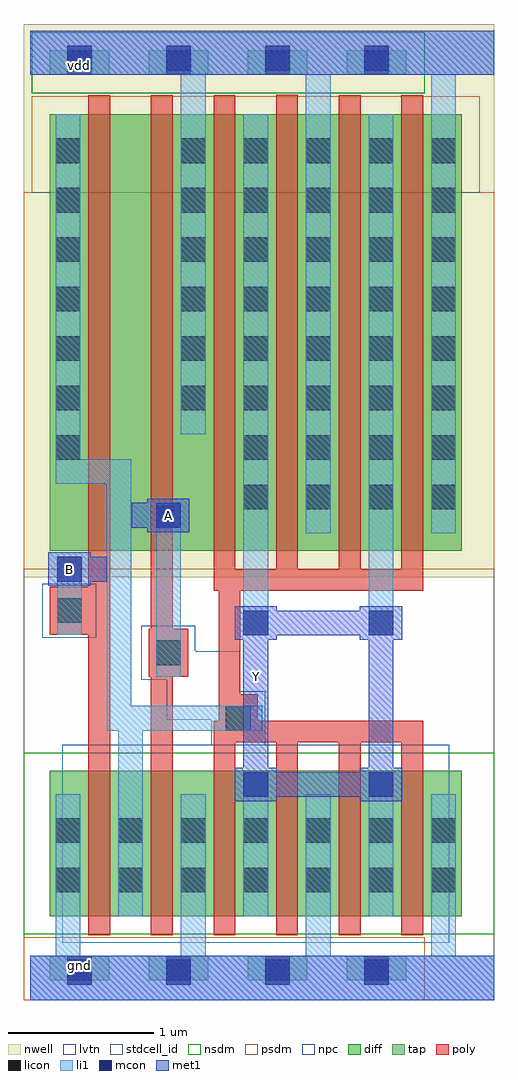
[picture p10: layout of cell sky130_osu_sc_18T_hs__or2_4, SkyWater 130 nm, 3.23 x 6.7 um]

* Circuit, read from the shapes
.subckt sky130_osu_sc_18T_hs__or2_4 A B Y gnd vdd
XM1 n1 B gnd gnd sky130_fd_pr__nfet_01v8_lvt w=1 l=0.15
XM2 gnd A n1 gnd sky130_fd_pr__nfet_01v8_lvt w=1 l=0.15
XM3 Y n1 gnd gnd sky130_fd_pr__nfet_01v8_lvt w=1 l=0.15 m=4
XM4 n2 B n1 vdd sky130_fd_pr__pfet_01v8 w=3 l=0.15
XM5 vdd A n2 vdd sky130_fd_pr__pfet_01v8 w=3 l=0.15
XM6 Y n1 vdd vdd sky130_fd_pr__pfet_01v8 w=3 l=0.15 m=4
.ends

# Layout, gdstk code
import gdstk
lib = gdstk.Library(unit=1e-6, precision=1e-09)
def R(c, l, rs):  # rectangles x0, y0, x1, y1
    for r in rs: c.add(gdstk.rectangle(r[:2], r[2:], *l))
nwell = (64, 20)
diff = (65, 20)
tap = (65, 44)
poly = (66, 20)
licon = (66, 44)
li1 = (67, 20)
mcon = (67, 44)
met1 = (68, 20)
stdcell_id = (81, 4)
nsdm = (93, 44)
psdm = (94, 20)
npc = (95, 20)
lvtn = (125, 44)

sky130_osu_sc_18t_hs__or = lib.new_cell('sky130_osu_sc_18T_hs__or2_4')
R(sky130_osu_sc_18t_hs__or, nwell, [(-0.045,2.905,3.19,6.705), (-0.045,2.905,3.19,6.705)])
R(sky130_osu_sc_18t_hs__or, diff, [(0.135,0.575,2.965,1.575), (0.135,0.575,2.965,1.575), (0.135,3.085,2.965,6.085), (0.135,3.085,2.965,6.085)])
R(sky130_osu_sc_18t_hs__or, tap, [(0.135,0.135,0.545,0.305), (0.135,0.135,0.545,0.305), (0.815,0.135,1.225,0.305), (0.815,0.135,1.225,0.305), (1.495,0.135,1.905,0.305), (1.495,0.135,1.905,0.305), (2.175,0.135,2.585,0.305), (2.175,0.135,2.585,0.305), (0.135,6.355,0.545,6.525), (0.135,6.355,0.545,6.525), (0.815,6.355,1.225,6.525), (0.815,6.355,1.225,6.525), (1.495,6.355,1.905,6.525), (1.495,6.355,1.905,6.525), (2.175,6.355,2.585,6.525), (2.175,6.355,2.585,6.525)])
R(sky130_osu_sc_18t_hs__or, poly, [(0.4,0.445,0.55,2.51), (0.4,0.445,0.55,2.51), (0.83,0.445,0.98,2.22), (0.83,0.445,0.98,2.22), (1.26,0.445,1.41,1.77), (1.26,0.445,1.41,1.77), (1.69,0.445,1.84,1.77), (1.69,0.445,1.84,1.77), (2.12,0.445,2.27,1.77), (2.12,0.445,2.27,1.77), (2.55,0.445,2.7,1.77), (2.55,0.445,2.7,1.77), (1.26,1.77,2.7,1.92), (1.26,1.77,2.7,1.92), (1.295,1.92,1.565,2.1), (1.295,1.92,1.565,2.1), (1.295,2.1,1.445,2.81), (1.295,2.1,1.445,2.81), (0.815,2.22,1.085,2.55), (0.815,2.22,1.085,2.55), (0.135,2.51,0.55,2.84), (0.135,2.51,0.55,2.84), (0.83,2.55,0.98,6.215), (0.83,2.55,0.98,6.215), (1.26,2.81,2.7,2.96), (1.26,2.81,2.7,2.96), (0.4,2.84,0.55,6.215), (0.4,2.84,0.55,6.215), (1.26,2.96,1.41,6.215), (1.26,2.96,1.41,6.215), (1.69,2.96,1.84,6.22), (1.69,2.96,1.84,6.22), (2.12,2.96,2.27,6.215), (2.12,2.96,2.27,6.215), (2.55,2.96,2.7,6.215), (2.55,2.96,2.7,6.215)])
R(sky130_osu_sc_18t_hs__or, licon, [(0.255,0.135,0.425,0.305), (0.255,0.135,0.425,0.305), (0.935,0.135,1.105,0.305), (0.935,0.135,1.105,0.305), (1.615,0.135,1.785,0.305), (1.615,0.135,1.785,0.305), (2.295,0.135,2.465,0.305), (2.295,0.135,2.465,0.305), (0.175,0.74,0.345,0.91), (0.175,0.74,0.345,0.91), (0.605,0.74,0.775,0.91), (0.605,0.74,0.775,0.91), (1.035,0.74,1.205,0.91), (1.035,0.74,1.205,0.91), (1.465,0.74,1.635,0.91), (1.465,0.74,1.635,0.91), (1.895,0.74,2.065,0.91), (1.895,0.74,2.065,0.91), (2.325,0.74,2.495,0.91), (2.325,0.74,2.495,0.91), (2.755,0.74,2.925,0.91), (2.755,0.74,2.925,0.91), (0.175,1.08,0.345,1.25), (0.175,1.08,0.345,1.25), (0.605,1.08,0.775,1.25), (0.605,1.08,0.775,1.25), (1.035,1.08,1.205,1.25), (1.035,1.08,1.205,1.25), (1.465,1.08,1.635,1.25), (1.465,1.08,1.635,1.25), (1.895,1.08,2.065,1.25), (1.895,1.08,2.065,1.25), (2.325,1.08,2.495,1.25), (2.325,1.08,2.495,1.25), (2.755,1.08,2.925,1.25), (2.755,1.08,2.925,1.25), (1.345,1.85,1.515,2.02), (1.345,1.85,1.515,2.02), (0.865,2.3,1.035,2.47), (0.865,2.3,1.035,2.47), (0.185,2.59,0.355,2.76), (0.185,2.59,0.355,2.76), (1.465,3.37,1.635,3.54), (1.465,3.37,1.635,3.54), (1.895,3.37,2.065,3.54), (1.895,3.37,2.065,3.54), (2.325,3.37,2.495,3.54), (2.325,3.37,2.495,3.54), (2.755,3.37,2.925,3.54), (2.755,3.37,2.925,3.54), (0.175,3.71,0.345,3.88), (0.175,3.71,0.345,3.88), (1.465,3.71,1.635,3.88), (1.465,3.71,1.635,3.88), (1.895,3.71,2.065,3.88), (1.895,3.71,2.065,3.88), (2.325,3.71,2.495,3.88), (2.325,3.71,2.495,3.88), (2.755,3.71,2.925,3.88), (2.755,3.71,2.925,3.88), (0.175,4.05,0.345,4.22), (0.175,4.05,0.345,4.22), (1.035,4.05,1.205,4.22), (1.035,4.05,1.205,4.22), (1.465,4.05,1.635,4.22), (1.465,4.05,1.635,4.22), (1.895,4.05,2.065,4.22), (1.895,4.05,2.065,4.22), (2.325,4.05,2.495,4.22), (2.325,4.05,2.495,4.22), (2.755,4.05,2.925,4.22), (2.755,4.05,2.925,4.22), (0.175,4.39,0.345,4.56), (0.175,4.39,0.345,4.56), (1.035,4.39,1.205,4.56), (1.035,4.39,1.205,4.56), (1.465,4.39,1.635,4.56), (1.465,4.39,1.635,4.56), (1.895,4.39,2.065,4.56), (1.895,4.39,2.065,4.56), (2.325,4.39,2.495,4.56), (2.325,4.39,2.495,4.56), (2.755,4.39,2.925,4.56), (2.755,4.39,2.925,4.56), (0.175,4.73,0.345,4.9), (0.175,4.73,0.345,4.9), (1.035,4.73,1.205,4.9), (1.035,4.73,1.205,4.9), (1.465,4.73,1.635,4.9), (1.465,4.73,1.635,4.9), (1.895,4.73,2.065,4.9), (1.895,4.73,2.065,4.9), (2.325,4.73,2.495,4.9), (2.325,4.73,2.495,4.9), (2.755,4.73,2.925,4.9), (2.755,4.73,2.925,4.9), (0.175,5.07,0.345,5.24), (0.175,5.07,0.345,5.24), (1.035,5.07,1.205,5.24), (1.035,5.07,1.205,5.24), (1.465,5.07,1.635,5.24), (1.465,5.07,1.635,5.24), (1.895,5.07,2.065,5.24), (1.895,5.07,2.065,5.24), (2.325,5.07,2.495,5.24), (2.325,5.07,2.495,5.24), (2.755,5.07,2.925,5.24), (2.755,5.07,2.925,5.24), (0.175,5.41,0.345,5.58), (0.175,5.41,0.345,5.58), (1.035,5.41,1.205,5.58), (1.035,5.41,1.205,5.58), (1.465,5.41,1.635,5.58), (1.465,5.41,1.635,5.58), (1.895,5.41,2.065,5.58), (1.895,5.41,2.065,5.58), (2.325,5.41,2.495,5.58), (2.325,5.41,2.495,5.58), (2.755,5.41,2.925,5.58), (2.755,5.41,2.925,5.58), (0.175,5.75,0.345,5.92), (0.175,5.75,0.345,5.92), (1.035,5.75,1.205,5.92), (1.035,5.75,1.205,5.92), (1.465,5.75,1.635,5.92), (1.465,5.75,1.635,5.92), (1.895,5.75,2.065,5.92), (1.895,5.75,2.065,5.92), (2.325,5.75,2.495,5.92), (2.325,5.75,2.495,5.92), (2.755,5.75,2.925,5.92), (2.755,5.75,2.925,5.92), (0.255,6.355,0.425,6.525), (0.255,6.355,0.425,6.525), (0.935,6.355,1.105,6.525), (0.935,6.355,1.105,6.525), (1.615,6.355,1.785,6.525), (1.615,6.355,1.785,6.525), (2.295,6.355,2.465,6.525), (2.295,6.355,2.465,6.525)])
R(sky130_osu_sc_18t_hs__or, li1, [(0,0,3.19,0.305), (0,0,3.19,0.305), (0.175,0.305,0.345,1.415), (0.175,0.305,0.345,1.415), (1.035,0.305,1.205,1.415), (1.035,0.305,1.205,1.415), (1.895,0.305,2.065,1.415), (1.895,0.305,2.065,1.415), (2.755,0.305,2.925,1.415), (2.755,0.305,2.925,1.415), (0.605,0.575,0.775,1.85), (0.605,0.575,0.775,1.85), (1.465,0.575,1.635,1.565), (1.465,0.575,1.635,1.565), (2.325,0.575,2.495,1.565), (2.325,0.575,2.495,1.565), (0.525,1.85,1.595,2.02), (0.525,1.85,1.595,2.02), (0.525,2.02,0.695,3.545), (0.525,2.02,0.695,3.545), (0.865,2.22,1.035,3.415), (0.865,2.22,1.035,3.415), (1.465,2.505,1.635,6.085), (1.465,2.505,1.635,6.085), (2.325,2.505,2.495,6.085), (2.325,2.505,2.495,6.085), (0.185,2.51,0.355,3.045), (0.185,2.51,0.355,3.045), (1.895,3.205,2.065,6.355), (1.895,3.205,2.065,6.355), (2.755,3.205,2.925,6.355), (2.755,3.205,2.925,6.355), (0.175,3.545,0.695,3.715), (0.175,3.545,0.695,3.715), (0.175,3.715,0.345,6.085), (0.175,3.715,0.345,6.085), (1.035,3.885,1.205,6.355), (1.035,3.885,1.205,6.355), (0,6.355,3.19,6.66), (0,6.355,3.19,6.66)])
R(sky130_osu_sc_18t_hs__or, mcon, [(0.255,0.105,0.425,0.275), (0.255,0.105,0.425,0.275), (0.935,0.105,1.105,0.275), (0.935,0.105,1.105,0.275), (1.615,0.105,1.785,0.275), (1.615,0.105,1.785,0.275), (2.295,0.105,2.465,0.275), (2.295,0.105,2.465,0.275), (1.465,1.395,1.635,1.565), (1.465,1.395,1.635,1.565), (2.325,1.395,2.495,1.565), (2.325,1.395,2.495,1.565), (1.465,2.505,1.635,2.675), (1.465,2.505,1.635,2.675), (2.325,2.505,2.495,2.675), (2.325,2.505,2.495,2.675), (0.185,2.875,0.355,3.045), (0.185,2.875,0.355,3.045), (0.865,3.245,1.035,3.415), (0.865,3.245,1.035,3.415), (0.255,6.385,0.425,6.555), (0.255,6.385,0.425,6.555), (0.935,6.385,1.105,6.555), (0.935,6.385,1.105,6.555), (1.615,6.385,1.785,6.555), (1.615,6.385,1.785,6.555), (2.295,6.385,2.465,6.555), (2.295,6.385,2.465,6.555)])
R(sky130_osu_sc_18t_hs__or, met1, [(0,0,3.19,0.305), (0,0,3.19,0.305), (1.405,1.365,1.695,1.395), (1.405,1.365,1.695,1.395), (2.265,1.365,2.555,1.395), (2.265,1.365,2.555,1.395), (1.405,1.395,2.555,1.565), (1.405,1.395,2.555,1.565), (1.405,1.565,1.695,1.595), (1.405,1.565,1.695,1.595), (2.265,1.565,2.555,1.595), (2.265,1.565,2.555,1.595), (1.465,1.595,1.635,2.475), (1.465,1.595,1.635,2.475), (2.325,1.595,2.495,2.475), (2.325,1.595,2.495,2.475), (1.405,2.475,1.695,2.505), (1.405,2.475,1.695,2.505), (2.265,2.475,2.555,2.505), (2.265,2.475,2.555,2.505), (1.405,2.505,2.555,2.675), (1.405,2.505,2.555,2.675), (1.405,2.675,1.695,2.705), (1.405,2.675,1.695,2.705), (2.265,2.675,2.555,2.705), (2.265,2.675,2.555,2.705), (0.125,2.845,0.415,2.875), (0.125,2.845,0.415,2.875), (0.125,2.875,0.525,3.045), (0.125,2.875,0.525,3.045), (0.125,3.045,0.415,3.075), (0.125,3.045,0.415,3.075), (0.805,3.215,1.095,3.245), (0.805,3.215,1.095,3.245), (0.7,3.245,1.095,3.415), (0.7,3.245,1.095,3.415), (0.805,3.415,1.095,3.445), (0.805,3.415,1.095,3.445), (0,6.355,3.19,6.66), (0,6.355,3.19,6.66)])
R(sky130_osu_sc_18t_hs__or, stdcell_id, [(-0.045,0,3.19,5.55), (-0.045,0,3.19,5.55)])
R(sky130_osu_sc_18t_hs__or, nsdm, [(-0.045,0.45,3.19,1.7), (-0.045,0.45,3.19,1.7), (0.01,6.23,2.71,6.65), (0.01,6.23,2.71,6.65)])
R(sky130_osu_sc_18t_hs__or, psdm, [(-0.045,0,2.71,0.43), (-0.045,0,2.71,0.43), (-0.045,2.96,3.19,5.55), (-0.045,2.96,3.19,5.55), (0.01,5.55,3.09,6.21), (0.01,5.55,3.09,6.21)])
R(sky130_osu_sc_18t_hs__or, npc, [(1.245,1.75,1.615,1.925), (1.245,1.75,1.615,1.925), (0.94,1.925,1.615,2.12), (0.94,1.925,1.615,2.12), (0.94,2.12,1.44,2.2), (0.94,2.12,1.44,2.2), (0.765,2.2,1.44,2.395), (0.765,2.2,1.44,2.395), (0.765,2.395,1.135,2.57), (0.765,2.395,1.135,2.57), (0.085,2.49,0.455,2.86), (0.085,2.49,0.455,2.86)])
R(sky130_osu_sc_18t_hs__or, lvtn, [(0.22,0.395,2.88,1.755), (0.22,0.395,2.88,1.755)])
sky130_osu_sc_18t_hs__or.add(gdstk.Label('gnd', (0.34,0.24), layer=68, texttype=16))
sky130_osu_sc_18t_hs__or.add(gdstk.Label('vdd', (0.34,6.42), layer=68, texttype=16))
sky130_osu_sc_18t_hs__or.add(gdstk.Label('gnd', (0.34,0.24), layer=68, texttype=16))
sky130_osu_sc_18t_hs__or.add(gdstk.Label('vdd', (0.34,6.42), layer=68, texttype=16))
sky130_osu_sc_18t_hs__or.add(gdstk.Label('Y', (1.555,2.22), layer=68, texttype=5))
sky130_osu_sc_18t_hs__or.add(gdstk.Label('A', (0.95,3.33), layer=68, texttype=5))
sky130_osu_sc_18t_hs__or.add(gdstk.Label('B', (0.27,2.96), layer=68, texttype=5))
sky130_osu_sc_18t_hs__or.add(gdstk.Label('Y', (1.555,2.22), layer=68, texttype=5))
sky130_osu_sc_18t_hs__or.add(gdstk.Label('A', (0.95,3.33), layer=68, texttype=5))
sky130_osu_sc_18t_hs__or.add(gdstk.Label('B', (0.27,2.96), layer=68, texttype=5))

lib.write_gds('sky130_osu_sc_18T_hs__or2_4.gds')
